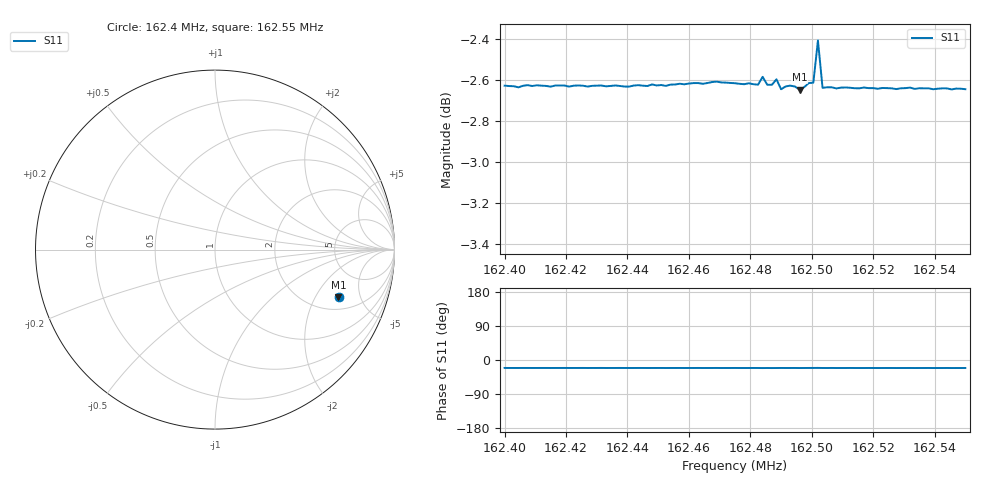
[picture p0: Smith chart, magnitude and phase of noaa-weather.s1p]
! Calibrated averaged scanner-service zoom
# Hz S RI R 50
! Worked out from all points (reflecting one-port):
!   101 points, 162.4 MHz to 162.55 MHz, reference 50 ohm
!   lowest |S11| = -2.6 dB at 162.496 MHz (marker M1), VSWR 6.61, Z = 135 - j158 ohm
!   phase of S11 starts at -21 deg and turns -0 deg over the sweep
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1.624e8  0.69 -0.2644
1.624195e8  0.6899 -0.2648
1.624255e8  0.6899 -0.2645
1.62427e8  0.6891 -0.2658
1.624315e8  0.69 -0.2645
1.62433e8  0.6892 -0.2658
1.624375e8  0.6898 -0.2646
1.62457e8  0.6904 -0.2655
1.624645e8  0.69 -0.2666
1.62469e8  0.6914 -0.2655
1.624705e8  0.6905 -0.2667
1.62475e8  0.6906 -0.2655
1.624825e8  0.6898 -0.266
1.62484e8  0.692 -0.2694
1.624855e8  0.6897 -0.2661
1.62487e8  0.6891 -0.2677
1.624885e8  0.6916 -0.2674
1.6249e8  0.6883 -0.2647
1.624945e8  0.6893 -0.2652
1.62496e8  0.6876 -0.2662
1.625005e8  0.6911 -0.2651
1.62502e8  0.708 -0.2702
1.625035e8  0.6886 -0.2655
1.625125e8  0.6889 -0.2649
1.62532e8  0.6887 -0.2654
1.62544e8  0.6885 -0.2652
1.625455e8  0.6876 -0.2664
1.6255e8  0.6881 -0.2651
